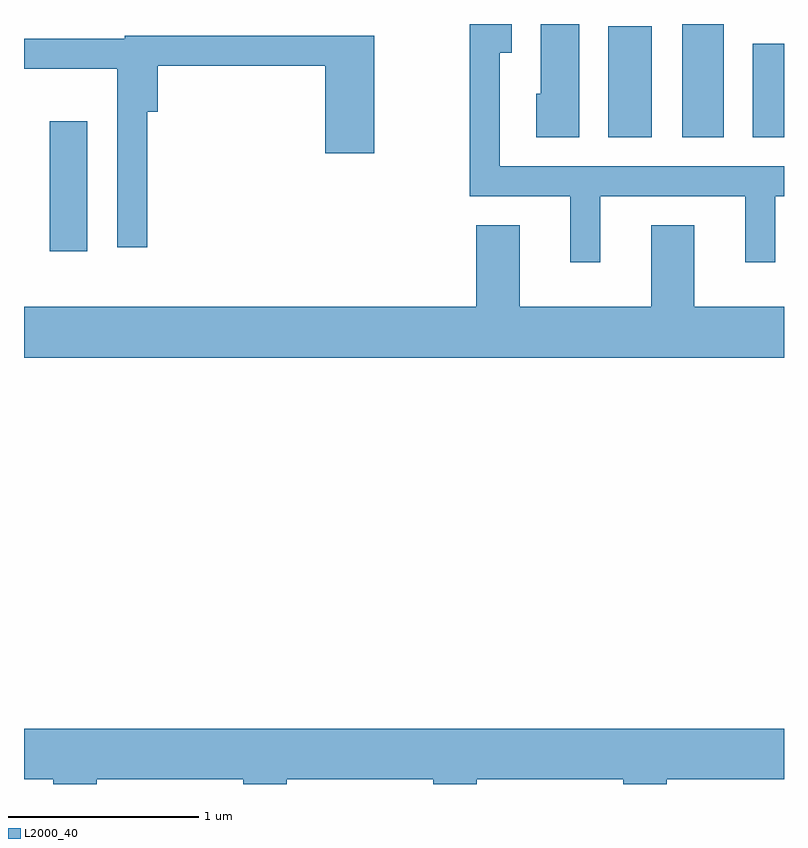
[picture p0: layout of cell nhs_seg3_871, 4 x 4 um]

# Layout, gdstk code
import gdstk
lib = gdstk.Library(unit=1e-6, precision=1e-09)
def R(c, l, rs):  # rectangles x0, y0, x1, y1
    for r in rs: c.add(gdstk.rectangle(r[:2], r[2:], *l))
def P(c, l, *ps):  # polygons
    for p in ps: c.add(gdstk.Polygon(p, *l))
L2000_40 = (2000, 40)

nhs_seg3_871 = lib.new_cell('nhs_seg3_871')
R(nhs_seg3_871, L2000_40, [(209.746,1228.696,209.944,1229.379), (212.686,1229.296,212.914,1229.879), (213.076,1229.296,213.294,1229.892), (213.446,1229.296,213.611,1229.789)])
P(nhs_seg3_871, L2000_40, [(212.644,1228.986),(213.406,1228.986),(213.406,1228.638),(213.564,1228.638),(213.564,1228.986),(213.611,1228.986),(213.611,1229.144),(212.114,1229.144),(212.114,1229.741),(212.179,1229.741),(212.179,1229.892),(211.956,1229.892),(211.956,1228.986),(212.486,1228.986),(212.486,1228.638),(212.644,1228.638)],
  [(212.534,1229.892),(212.331,1229.892),(212.331,1229.524),(212.306,1229.524),(212.306,1229.296),(212.534,1229.296)],
  [(210.259,1229.431),(210.314,1229.431),(210.314,1229.671),(211.196,1229.671),(211.196,1229.211),(211.454,1229.211),(211.454,1229.829),(210.14,1229.829),(210.14,1229.814),(209.611,1229.814),(209.611,1229.656),(210.101,1229.656),(210.101,1228.718),(210.259,1228.718)],
  [(213.611,1228.404),(213.139,1228.404),(213.139,1228.834),(212.911,1228.834),(212.911,1228.404),(212.219,1228.404),(212.219,1228.834),(211.991,1228.834),(211.991,1228.404),(209.611,1228.404),(209.611,1228.136),(213.611,1228.136)],
  [(209.994,1225.916),(210.766,1225.916),(210.766,1225.892),(210.994,1225.892),(210.994,1225.916),(211.766,1225.916),(211.766,1225.892),(211.994,1225.892),(211.994,1225.916),(212.766,1225.916),(212.766,1225.892),(212.994,1225.892),(212.994,1225.916),(213.611,1225.916),(213.611,1226.184),(209.611,1226.184),(209.611,1225.916),(209.766,1225.916),(209.766,1225.892),(209.994,1225.892)])

lib.write_gds('nhs_seg3_871.gds')
